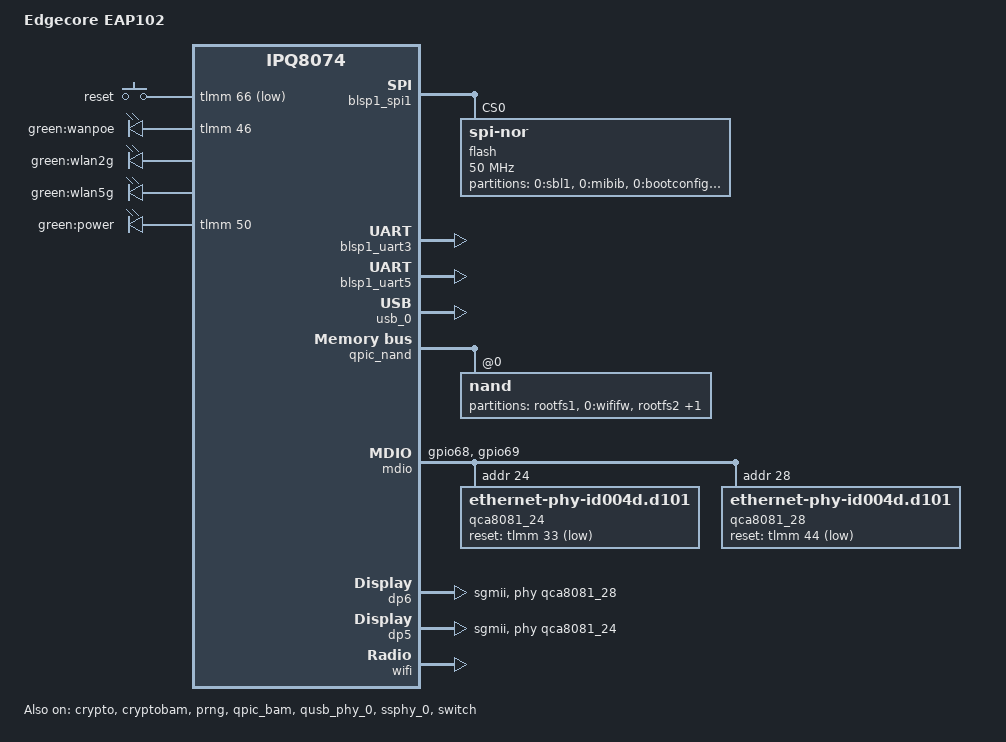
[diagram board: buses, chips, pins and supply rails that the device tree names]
// SPDX-License-Identifier: GPL-2.0-or-later OR MIT
/* Copyright (c) 2022, Matthew Hagan <mnhagan88@gmail.com> */

/dts-v1/;

#include "ipq8074.dtsi"
#include "ipq8074-ac-cpu.dtsi"
#include "ipq8074-ess.dtsi"
#include <dt-bindings/gpio/gpio.h>
#include <dt-bindings/input/input.h>

/ {
	#address-cells = <2>;
	#size-cells = <2>;
	model = "Edgecore EAP102";
	compatible = "edgecore,eap102", "qcom,ipq8074";

	interrupt-parent = <&intc>;

	aliases {
		serial0 = &blsp1_uart5;
		serial1 = &blsp1_uart3;
		led-boot = &led_system_green;
		led-failsafe = &led_system_green;
		led-running = &led_system_green;
		led-upgrade = &led_system_green;
		/* Aliases as required by u-boot to patch MAC addresses */
		ethernet1 = &dp5;
		ethernet0 = &dp6;
		label-mac-device = &dp6;
	};

	chosen {
		stdout-path = "serial0:115200n8";
		bootargs-append = " root=/dev/ubiblock0_1";
	};

	keys {
		compatible = "gpio-keys";
		pinctrl-0 = <&button_pins>;
		pinctrl-names = "default";

		reset {
			label = "reset";
			gpios = <&tlmm 66 GPIO_ACTIVE_LOW>;
			linux,code = <KEY_RESTART>;
		};
	};

	leds {
		compatible = "gpio-leds";

		led_wanpoe {
			label = "green:wanpoe";
			gpios = <&tlmm 46 GPIO_ACTIVE_HIGH>;
		};

		led_wlan2g {
			label = "green:wlan2g";
			gpio = <&tlmm 47 GPIO_ACTIVE_HIGH>;
			linux,default-trigger = "phy1radio";
		};

		led_wlan5g {
			label = "green:wlan5g";
			gpio = <&tlmm 48 GPIO_ACTIVE_HIGH>;
			linux,default-trigger = "phy0radio";
		};

		led_system_green: led_system {
			label = "green:power";
			gpios = <&tlmm 50 GPIO_ACTIVE_HIGH>;
		};
	};
};

&tlmm {
	mdio_pins: mdio-pins {
		mdc {
			pins = "gpio68";
			function = "mdc";
			drive-strength = <8>;
			bias-pull-up;
		};

		mdio {
			pins = "gpio69";
			function = "mdio";
			drive-strength = <8>;
			bias-pull-up;
		};
	};

	button_pins: button_pins {
		reset_button {
			pins = "gpio66";
			function = "gpio";
			drive-strength = <8>;
			bias-pull-up;
		};
	};
};

&blsp1_spi1 {
	status = "okay";

	flash@0 {
		#address-cells = <1>;
		#size-cells = <1>;
		reg = <0>;
		compatible = "jedec,spi-nor";
		spi-max-frequency = <50000000>;

		partitions {
			compatible = "fixed-partitions";
			#address-cells = <1>;
			#size-cells = <1>;

			partition@0 {
				label = "0:sbl1";
				reg = <0x0 0x50000>;
				read-only;
			};

			partition@50000 {
				label = "0:mibib";
				reg = <0x50000 0x10000>;
				read-only;
			};

			partition@60000 {
				label = "0:bootconfig";
				reg = <0x60000 0x20000>;
				read-only;
			};

			partition@80000 {
				label = "0:bootconfig1";
				reg = <0x80000 0x20000>;
				read-only;
			};

			partition@a0000 {
				label = "0:qsee";
				reg = <0xa0000 0x180000>;
				read-only;
			};

			partition@220000 {
				label = "0:qsee_1";
				reg = <0x220000 0x180000>;
				read-only;
			};

			partition@3a0000 {
				label = "0:devcfg";
				reg = <0x3a0000 0x10000>;
				read-only;
			};

			partition@3b0000 {
				label = "0:devcfg_1";
				reg = <0x3b0000 0x10000>;
				read-only;
			};

			partition@3c0000 {
				label = "0:apdp";
				reg = <0x3c0000 0x10000>;
				read-only;
			};

			partition@3d0000 {
				label = "0:apdp_1";
				reg = <0x3d0000 0x10000>;
				read-only;
			};

			partition@3e0000 {
				label = "0:rpm";
				reg = <0x3e0000 0x40000>;
				read-only;
			};

			partition@420000 {
				label = "0:rpm_1";
				reg = <0x420000 0x40000>;
				read-only;
			};

			partition@460000 {
				label = "0:cdt";
				reg = <0x460000 0x10000>;
				read-only;
			};

			partition@470000 {
				label = "0:cdt_1";
				reg = <0x470000 0x10000>;
				read-only;
			};

			partition@480000 {
				label = "0:appsblenv";
				reg = <0x480000 0x10000>;
			};

			partition@490000 {
				label = "0:appsbl";
				reg = <0x490000 0xc0000>;
				read-only;
			};

			partition@550000 {
				label = "0:appsbl_1";
				reg = <0x530000 0xc0000>;
				read-only;
			};

			partition@610000 {
				label = "0:art";
				reg = <0x610000 0x40000>;
				read-only;
			};

			partition@650000 {
				label = "0:ethphyfw";
				reg = <0x650000 0x80000>;
				read-only;
			};

			partition@6d0000 {
				label = "0:product_info";
				reg = <0x6d0000 0x80000>;
				read-only;
			};

			partition@750000 {
				label = "priv_data1";
				reg = <0x750000 0x10000>;
				read-only;
			};

			partition@760000 {
				label = "priv_data2";
				reg = <0x760000 0x10000>;
				read-only;
			};
		};
	};
};

&blsp1_uart3 {
	status = "okay";
};

&blsp1_uart5 {
	status = "okay";
};

&crypto {
	status = "okay";
};

&cryptobam {
	status = "okay";
};

&prng {
	status = "okay";
};

&qpic_bam {
	status = "okay";
};

&qusb_phy_0 {
	status = "okay";
};

&ssphy_0 {
	status = "okay";
};

&usb_0 {
	status = "okay";
};

&qpic_nand {
	status = "okay";

	nand@0 {
		reg = <0>;
		nand-ecc-strength = <8>;
		nand-ecc-step-size = <512>;
		nand-bus-width = <8>;

		partitions {
			compatible = "fixed-partitions";
			#address-cells = <1>;
			#size-cells = <1>;

			partition@0 {
				label = "rootfs1";
				reg = <0x0000000 0x3400000>;
			};

			partition@3400000 {
				label = "0:wififw";
				reg = <0x3400000 0x800000>;
				read-only;
			};

			partition@3c00000 {
				label = "rootfs2";
				reg = <0x3c00000 0x3400000>;
			};

			partition@7000000 {
				label = "0:wififw_1";
				reg = <0x7000000 0x800000>;
				read-only;
			};
		};
	};
};

&mdio {
	status = "okay";

	pinctrl-0 = <&mdio_pins>;
	pinctrl-names = "default";

	qca8081_24: ethernet-phy@24 {
		compatible = "ethernet-phy-id004d.d101";
		reg = <24>;
		reset-gpios = <&tlmm 33 GPIO_ACTIVE_LOW>;
	};

	qca8081_28: ethernet-phy@28 {
		compatible = "ethernet-phy-id004d.d101";
		reg = <28>;
		reset-gpios = <&tlmm 44 GPIO_ACTIVE_LOW>;
	};
};

&switch {
	status = "okay";

	switch_cpu_bmp = <0x1>;  /* cpu port bitmap */
	switch_lan_bmp = <0x3e>; /* lan port bitmap */
	switch_wan_bmp = <0x40>; /* wan port bitmap */
	switch_mac_mode = <0xff>; /* mac mode for uniphy instance0*/
	switch_mac_mode1 = <0xf>; /* mac mode for uniphy instance1*/
	switch_mac_mode2 = <0xf>; /* mac mode for uniphy instance2*/
	bm_tick_mode = <0>; /* bm tick mode */
	tm_tick_mode = <0>; /* tm tick mode */

	qcom,port_phyinfo {
		port@4 {
			port_id = <5>;
			phy_address = <24>;
			port_mac_sel = "QGMAC_PORT";
		};
		port@5 {
			port_id = <6>;
			phy_address = <28>;
			port_mac_sel = "QGMAC_PORT";
		};
	};

	port_scheduler_resource {
		port@0 {
			port_id = <0>;
			ucast_queue = <0 143>;
			mcast_queue = <256 271>;
			l0sp = <0 35>;
			l0cdrr = <0 47>;
			l0edrr = <0 47>;
			l1cdrr = <0 7>;
			l1edrr = <0 7>;
		};
		port@1 {
			port_id = <1>;
			ucast_queue = <144 159>;
			mcast_queue = <272 275>;
			l0sp = <36 39>;
			l0cdrr = <48 63>;
			l0edrr = <48 63>;
			l1cdrr = <8 11>;
			l1edrr = <8 11>;
		};
		port@2 {
			port_id = <2>;
			ucast_queue = <160 175>;
			mcast_queue = <276 279>;
			l0sp = <40 43>;
			l0cdrr = <64 79>;
			l0edrr = <64 79>;
			l1cdrr = <12 15>;
			l1edrr = <12 15>;
		};
		port@3 {
			port_id = <3>;
			ucast_queue = <176 191>;
			mcast_queue = <280 283>;
			l0sp = <44 47>;
			l0cdrr = <80 95>;
			l0edrr = <80 95>;
			l1cdrr = <16 19>;
			l1edrr = <16 19>;
		};
		port@4 {
			port_id = <4>;
			ucast_queue = <192 207>;
			mcast_queue = <284 287>;
			l0sp = <48 51>;
			l0cdrr = <96 111>;
			l0edrr = <96 111>;
			l1cdrr = <20 23>;
			l1edrr = <20 23>;
		};
		port@5 {
			port_id = <5>;
			ucast_queue = <208 223>;
			mcast_queue = <288 291>;
			l0sp = <52 55>;
			l0cdrr = <112 127>;
			l0edrr = <112 127>;
			l1cdrr = <24 27>;
			l1edrr = <24 27>;
		};
		port@6 {
			port_id = <6>;
			ucast_queue = <224 239>;
			mcast_queue = <292 295>;
			l0sp = <56 59>;
			l0cdrr = <128 143>;
			l0edrr = <128 143>;
			l1cdrr = <28 31>;
			l1edrr = <28 31>;
		};
		port@7 {
			port_id = <7>;
			ucast_queue = <240 255>;
			mcast_queue = <296 299>;
			l0sp = <60 63>;
			l0cdrr = <144 159>;
			l0edrr = <144 159>;
			l1cdrr = <32 35>;
			l1edrr = <32 35>;
		};
	};
	port_scheduler_config {
		port@0 {
			port_id = <0>;
			l1scheduler {
				group@0 {
					sp = <0 1>; /*L0 SPs*/
					/*cpri cdrr epri edrr*/
					cfg = <0 0 0 0>;
				};
			};
			l0scheduler {
				group@0 {
					/*unicast queues*/
					ucast_queue = <0 4 8>;
					/*multicast queues*/
					mcast_queue = <256 260>;
					/*sp cpri cdrr epri edrr*/
					cfg = <0 0 0 0 0>;
				};
				group@1 {
					ucast_queue = <1 5 9>;
					mcast_queue = <257 261>;
					cfg = <0 1 1 1 1>;
				};
				group@2 {
					ucast_queue = <2 6 10>;
					mcast_queue = <258 262>;
					cfg = <0 2 2 2 2>;
				};
				group@3 {
					ucast_queue = <3 7 11>;
					mcast_queue = <259 263>;
					cfg = <0 3 3 3 3>;
				};
			};
		};
		port@1 {
			port_id = <1>;
			l1scheduler {
				group@0 {
					sp = <36>;
					cfg = <0 8 0 8>;
				};
				group@1 {
					sp = <37>;
					cfg = <1 9 1 9>;
				};
			};
			l0scheduler {
				group@0 {
					ucast_queue = <144>;
					ucast_loop_pri = <16>;
					mcast_queue = <272>;
					mcast_loop_pri = <4>;
					cfg = <36 0 48 0 48>;
				};
			};
		};
		port@2 {
			port_id = <2>;
			l1scheduler {
				group@0 {
					sp = <40>;
					cfg = <0 12 0 12>;
				};
				group@1 {
					sp = <41>;
					cfg = <1 13 1 13>;
				};
			};
			l0scheduler {
				group@0 {
					ucast_queue = <160>;
					ucast_loop_pri = <16>;
					mcast_queue = <276>;
					mcast_loop_pri = <4>;
					cfg = <40 0 64 0 64>;
				};
			};
		};
		port@3 {
			port_id = <3>;
			l1scheduler {
				group@0 {
					sp = <44>;
					cfg = <0 16 0 16>;
				};
				group@1 {
					sp = <45>;
					cfg = <1 17 1 17>;
				};
			};
			l0scheduler {
				group@0 {
					ucast_queue = <176>;
					ucast_loop_pri = <16>;
					mcast_queue = <280>;
					mcast_loop_pri = <4>;
					cfg = <44 0 80 0 80>;
				};
			};
		};
		port@4 {
			port_id = <4>;
			l1scheduler {
				group@0 {
					sp = <48>;
					cfg = <0 20 0 20>;
				};
				group@1 {
					sp = <49>;
					cfg = <1 21 1 21>;
				};
			};
			l0scheduler {
				group@0 {
					ucast_queue = <192>;
					ucast_loop_pri = <16>;
					mcast_queue = <284>;
					mcast_loop_pri = <4>;
					cfg = <48 0 96 0 96>;
				};
			};
		};
		port@5 {
			port_id = <5>;
			l1scheduler {
				group@0 {
					sp = <52>;
					cfg = <0 24 0 24>;
				};
				group@1 {
					sp = <53>;
					cfg = <1 25 1 25>;
				};
			};
			l0scheduler {
				group@0 {
					ucast_queue = <208>;
					ucast_loop_pri = <16>;
					mcast_queue = <288>;
					mcast_loop_pri = <4>;
					cfg = <52 0 112 0 112>;
				};
			};
		};
		port@6 {
			port_id = <6>;
			l1scheduler {
				group@0 {
					sp = <56>;
					cfg = <0 28 0 28>;
				};
				group@1 {
					sp = <57>;
					cfg = <1 29 1 29>;
				};
			};
			l0scheduler {
				group@0 {
					ucast_queue = <224>;
					ucast_loop_pri = <16>;
					mcast_queue = <292>;
					mcast_loop_pri = <4>;
					cfg = <56 0 128 0 128>;
				};
			};
		};
		port@7 {
			port_id = <7>;
			l1scheduler {
				group@0 {
					sp = <60>;
					cfg = <0 32 0 32>;
				};
				group@1 {
					sp = <61>;
					cfg = <1 33 1 33>;
				};
			};
			l0scheduler {
				group@0 {
					ucast_queue = <240>;
					ucast_loop_pri = <16>;
					mcast_queue = <296>;
					cfg = <60 0 144 0 144>;
				};
			};
		};
	};
};

&edma {
	status = "okay";
};

&soc {
	dp6: dp6 {
		device_type = "network";
		compatible = "qcom,nss-dp";
		qcom,id = <6>;
		reg = <0x3a001800 0x200>;
		qcom,mactype = <0>;
		local-mac-address = [000000000000];
		phy-handle = <&qca8081_28>;
		phy-mode = "sgmii";
	};

	dp5: dp5 {
		device_type = "network";
		compatible = "qcom,nss-dp";
		qcom,id = <5>;
		reg = <0x3a001a00 0x200>;
		qcom,mactype = <0>;
		local-mac-address = [000000000000];
		phy-handle = <&qca8081_24>;
		phy-mode = "sgmii";
	};
};

&wifi {
	status = "okay";

	qcom,ath11k-calibration-variant = "Edgecore-EAP102";
};
